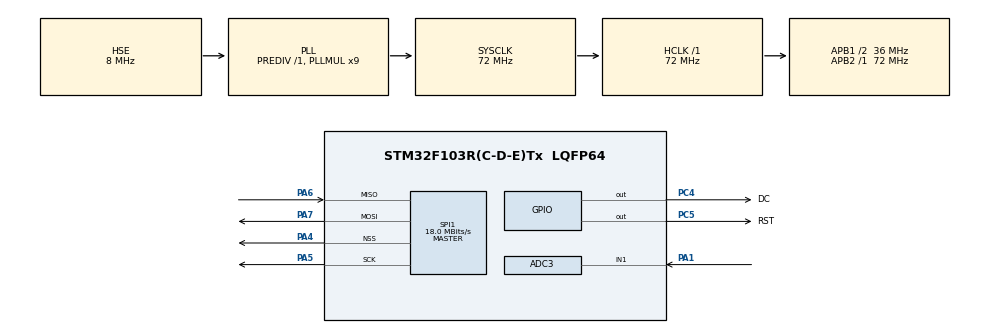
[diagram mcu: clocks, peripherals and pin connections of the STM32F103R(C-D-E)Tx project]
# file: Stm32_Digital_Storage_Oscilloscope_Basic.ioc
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ADC3.Channel-3\#ChannelRegularConversion=ADC_CHANNEL_1
ADC3.EnableRegularConversion=ENABLE
ADC3.ExternalTrigConv=ADC_EXTERNALTRIGCONV_T2_CC3
ADC3.NbrOfConversionFlag=1
ADC3.Rank-3\#ChannelRegularConversion=1
ADC3.SamplingTime-3\#ChannelRegularConversion=ADC_SAMPLETIME_1CYCLE_5
Dma.ADC3.0.Direction=DMA_PERIPH_TO_MEMORY
Dma.ADC3.0.Instance=DMA2_Channel5
Dma.ADC3.0.MemDataAlignment=DMA_MDATAALIGN_HALFWORD
Dma.ADC3.0.MemInc=DMA_MINC_ENABLE
Dma.ADC3.0.Mode=DMA_NORMAL
Dma.ADC3.0.PeriphDataAlignment=DMA_PDATAALIGN_HALFWORD
Dma.ADC3.0.PeriphInc=DMA_PINC_DISABLE
Dma.ADC3.0.Priority=DMA_PRIORITY_LOW
Dma.Request0=ADC3
Dma.Request1=SPI1_TX
Dma.SPI1_TX.1.Direction=DMA_MEMORY_TO_PERIPH
Dma.SPI1_TX.1.Instance=DMA1_Channel3
Dma.SPI1_TX.1.MemDataAlignment=DMA_MDATAALIGN_BYTE
Dma.SPI1_TX.1.MemInc=DMA_MINC_ENABLE
Dma.SPI1_TX.1.Mode=DMA_NORMAL
Dma.SPI1_TX.1.PeriphDataAlignment=DMA_PDATAALIGN_BYTE
Dma.SPI1_TX.1.PeriphInc=DMA_PINC_DISABLE
Dma.SPI1_TX.1.Priority=DMA_PRIORITY_LOW
FREERTOS.Tasks01=AcquitsittionHa,40,512,AcquitsittionHandleCallback,Default,NULL,Dynamic,NULL,NULL;UiHandleTask,24,512,UiHandleCallback,Default,NULL,Dynamic,NULL,NULL
FREERTOS.configTOTAL_HEAP_SIZE=6144
Mcu.Family=STM32F1
Mcu.Name=STM32F103R(C-D-E)Tx
Mcu.Package=LQFP64
NVIC.ADC3_IRQn=true\:5\:0\:false\:false\:true\:true\:true\:true\:true
NVIC.DMA1_Channel3_IRQn=true\:5\:0\:false\:false\:true\:true\:false\:true\:true
NVIC.DMA2_Channel4_5_IRQn=true\:5\:0\:false\:false\:true\:true\:false\:true\:true
NVIC.PriorityGroup=NVIC_PRIORITYGROUP_4
PA1.Signal=ADCx_IN1
PA13.Mode=Serial_Wire
PA13.Signal=SYS_JTMS-SWDIO
PA14.Mode=Serial_Wire
PA14.Signal=SYS_JTCK-SWCLK
PA4.Mode=NSS_Signal_Hard_Output
PA4.Signal=SPI1_NSS
PA5.Mode=Full_Duplex_Master
PA5.Signal=SPI1_SCK
PA6.Mode=Full_Duplex_Master
PA6.Signal=SPI1_MISO
PA7.Mode=Full_Duplex_Master
PA7.Signal=SPI1_MOSI
PC4.GPIO_Label=DC
PC4.GPIO_Speed=GPIO_SPEED_FREQ_HIGH
PC4.Signal=GPIO_Output
PC5.GPIO_Label=RST
PC5.GPIO_Speed=GPIO_SPEED_FREQ_HIGH
PC5.Signal=GPIO_Output
PD0-OSC_IN.Mode=HSE-External-Oscillator
PD0-OSC_IN.Signal=RCC_OSC_IN
PD1-OSC_OUT.Mode=HSE-External-Oscillator
PD1-OSC_OUT.Signal=RCC_OSC_OUT
ProjectManager.HeapSize=0x200
ProjectManager.StackSize=0x400
ProjectManager.TargetToolchain=STM32CubeIDE
RCC.ADCPresc=RCC_ADCPCLK2_DIV6
RCC.AHBFreq_Value=72000000
RCC.APB1CLKDivider=RCC_HCLK_DIV2
RCC.APB1Freq_Value=36000000
RCC.APB1TimFreq_Value=72000000
RCC.APB2Freq_Value=72000000
RCC.APB2TimFreq_Value=72000000
RCC.HCLKFreq_Value=72000000
RCC.PLLMUL=RCC_PLL_MUL9
RCC.PLLSourceVirtual=RCC_PLLSOURCE_HSE
RCC.SYSCLKFreq_VALUE=72000000
RCC.SYSCLKSource=RCC_SYSCLKSOURCE_PLLCLK
RCC.USBFreq_Value=72000000
SH.ADCx_IN1.0=ADC3_IN1,IN1
SPI1.BaudRatePrescaler=SPI_BAUDRATEPRESCALER_4
SPI1.CalculateBaudRate=18.0 MBits/s
SPI1.Direction=SPI_DIRECTION_2LINES
SPI1.Mode=SPI_MODE_MASTER
SPI1.VirtualNSS=VM_NSSHARD
SPI1.VirtualType=VM_MASTER
TIM2.AutoReloadPreload=TIM_AUTORELOAD_PRELOAD_ENABLE
TIM2.Channel-Output\ Compare3\ No\ Output=TIM_CHANNEL_3
TIM2.OC3Preload=DISABLE
TIM2.Period=1
TIM2.Prescaler=35
TIM2.TIM_MasterOutputTrigger=TIM_TRGO_RESET
VP_FREERTOS_VS_CMSIS_V2.Mode=CMSIS_V2
VP_TIM2_VS_ClockSourceINT.Mode=Internal
VP_TIM2_VS_no_output3.Mode=Output Compare3 No Output
board=custom

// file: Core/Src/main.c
/* USER CODE BEGIN Header */
/**
 ******************************************************************************
 * @file           : main.c
 * @brief          : Main program body
 ******************************************************************************
 * @attention
 *
 * Copyright (c) 2026 STMicroelectronics.
 * All rights reserved.
 *
 * This software is licensed under terms that can be found in the LICENSE file
 * in the root directory of this software component.
 * If no LICENSE file comes with this software, it is provided AS-IS.
 *
 ******************************************************************************
 */
/* USER CODE END Header */
#include "main.h"
#include "cmsis_os.h"

/* USER CODE BEGIN Includes */
#include "St7789.h"
#include <string.h>
#include "acquisition.h"
#include "FreeRTOS.h"
#include "queue.h"
#include "MainScreen.h"
/* USER CODE END Includes */

/* USER CODE BEGIN PD */
#define ST7789_COLUMN_SIZE													240
#define ST7789_ROW_SIZE														320
#define ST7789_DMA_MEMORY_SIZE												720

/* USER CODE END PD */

ADC_HandleTypeDef hadc3;
DMA_HandleTypeDef hdma_adc3;

SPI_HandleTypeDef hspi1;
DMA_HandleTypeDef hdma_spi1_tx;

TIM_HandleTypeDef htim2;

/* Definitions for AcquitsittionHa */
osThreadId_t AcquitsittionHaHandle;
const osThreadAttr_t AcquitsittionHa_attributes = {
  .name = "AcquitsittionHa",
  .stack_size = 512 * 4,
  .priority = (osPriority_t) osPriorityHigh,
};
/* Definitions for UiHandleTask */
osThreadId_t UiHandleTaskHandle;
const osThreadAttr_t UiHandleTask_attributes = {
  .name = "UiHandleTask",
  .stack_size = 512 * 4,
  .priority = (osPriority_t) osPriorityNormal,
};
/* USER CODE BEGIN PV */
St7789Config tft7789;
uint16_t timePerDiv;
uint16_t sampleCount;
/* USER CODE END PV */

void SystemClock_Config(void);
static void MX_GPIO_Init(void);
static void MX_DMA_Init(void);
static void MX_SPI1_Init(void);
static void MX_ADC3_Init(void);
static void MX_TIM2_Init(void);
void AcquitsittionHandleCallback(void *argument);
void UiHandleCallback(void *argument);

/* USER CODE BEGIN PFP */
static void St7789_Config(St7789Config *config);
void HandleEncoderChanged(AcquisittionEncoderChangedContent *buffer);
/* USER CODE END PFP */

int main(void)
{

  /* MCU Configuration--------------------------------------------------------*/

  /* Reset of all peripherals, Initializes the Flash interface and the Systick. */
  HAL_Init();

  /* Configure the system clock */
  SystemClock_Config();

  /* Initialize all configured peripherals */
  MX_GPIO_Init();
  MX_DMA_Init();
  MX_SPI1_Init();
  MX_ADC3_Init();
  MX_TIM2_Init();

  /* Init scheduler */
  osKernelInitialize();

  /* Create the thread(s) */
  /* creation of AcquitsittionHa */
  AcquitsittionHaHandle = osThreadNew(AcquitsittionHandleCallback, NULL, &AcquitsittionHa_attributes);

  /* creation of UiHandleTask */
  UiHandleTaskHandle = osThreadNew(UiHandleCallback, NULL, &UiHandleTask_attributes);

  /* Start scheduler */
  osKernelStart();

  /* We should never get here as control is now taken by the scheduler */

  /* Infinite loop */
	while (1) {

	}
}

void SystemClock_Config(void)
{
  RCC_OscInitTypeDef RCC_OscInitStruct = {0};
  RCC_ClkInitTypeDef RCC_ClkInitStruct = {0};
  RCC_PeriphCLKInitTypeDef PeriphClkInit = {0};

  /** Initializes the RCC Oscillators according to the specified parameters
  * in the RCC_OscInitTypeDef structure.
  */
  RCC_OscInitStruct.OscillatorType = RCC_OSCILLATORTYPE_HSE;
  RCC_OscInitStruct.HSEState = RCC_HSE_ON;
  RCC_OscInitStruct.HSEPredivValue = RCC_HSE_PREDIV_DIV1;
  RCC_OscInitStruct.HSIState = RCC_HSI_ON;
  RCC_OscInitStruct.PLL.PLLState = RCC_PLL_ON;
  RCC_OscInitStruct.PLL.PLLSource = RCC_PLLSOURCE_HSE;
  RCC_OscInitStruct.PLL.PLLMUL = RCC_PLL_MUL9;
  if (HAL_RCC_OscConfig(&RCC_OscInitStruct) != HAL_OK)
  {
    Error_Handler();
  }

  /** Initializes the CPU, AHB and APB buses clocks
  */
  RCC_ClkInitStruct.ClockType = RCC_CLOCKTYPE_HCLK|RCC_CLOCKTYPE_SYSCLK
                              |RCC_CLOCKTYPE_PCLK1|RCC_CLOCKTYPE_PCLK2;
  RCC_ClkInitStruct.SYSCLKSource = RCC_SYSCLKSOURCE_PLLCLK;
  RCC_ClkInitStruct.AHBCLKDivider = RCC_SYSCLK_DIV1;
  RCC_ClkInitStruct.APB1CLKDivider = RCC_HCLK_DIV2;
  RCC_ClkInitStruct.APB2CLKDivider = RCC_HCLK_DIV1;

  if (HAL_RCC_ClockConfig(&RCC_ClkInitStruct, FLASH_LATENCY_2) != HAL_OK)
  {
    Error_Handler();
  }
  PeriphClkInit.PeriphClockSelection = RCC_PERIPHCLK_ADC;
  PeriphClkInit.AdcClockSelection = RCC_ADCPCLK2_DIV6;
  if (HAL_RCCEx_PeriphCLKConfig(&PeriphClkInit) != HAL_OK)
  {
    Error_Handler();
  }
}

static void MX_ADC3_Init(void)
{

  ADC_ChannelConfTypeDef sConfig = {0};

  /** Common config
  */
  hadc3.Instance = ADC3;
  hadc3.Init.ScanConvMode = ADC_SCAN_DISABLE;
  hadc3.Init.ContinuousConvMode = DISABLE;
  hadc3.Init.DiscontinuousConvMode = DISABLE;
  hadc3.Init.ExternalTrigConv = ADC_EXTERNALTRIGCONV_T2_CC3;
  hadc3.Init.DataAlign = ADC_DATAALIGN_RIGHT;
  hadc3.Init.NbrOfConversion = 1;
  if (HAL_ADC_Init(&hadc3) != HAL_OK)
  {
    Error_Handler();
  }

  /** Configure Regular Channel
  */
  sConfig.Channel = ADC_CHANNEL_1;
  sConfig.Rank = ADC_REGULAR_RANK_1;
  sConfig.SamplingTime = ADC_SAMPLETIME_1CYCLE_5;
  if (HAL_ADC_ConfigChannel(&hadc3, &sConfig) != HAL_OK)
  {
    Error_Handler();
  }

}

static void MX_SPI1_Init(void)
{

  /* SPI1 parameter configuration*/
  hspi1.Instance = SPI1;
  hspi1.Init.Mode = SPI_MODE_MASTER;
  hspi1.Init.Direction = SPI_DIRECTION_2LINES;
  hspi1.Init.DataSize = SPI_DATASIZE_8BIT;
  hspi1.Init.CLKPolarity = SPI_POLARITY_LOW;
  hspi1.Init.CLKPhase = SPI_PHASE_1EDGE;
  hspi1.Init.NSS = SPI_NSS_HARD_OUTPUT;
  hspi1.Init.BaudRatePrescaler = SPI_BAUDRATEPRESCALER_4;
  hspi1.Init.FirstBit = SPI_FIRSTBIT_MSB;
  hspi1.Init.TIMode = SPI_TIMODE_DISABLE;
  hspi1.Init.CRCCalculation = SPI_CRCCALCULATION_DISABLE;
  hspi1.Init.CRCPolynomial = 10;
  if (HAL_SPI_Init(&hspi1) != HAL_OK)
  {
    Error_Handler();
  }

}

static void MX_TIM2_Init(void)
{

  TIM_ClockConfigTypeDef sClockSourceConfig = {0};
  TIM_MasterConfigTypeDef sMasterConfig = {0};
  TIM_OC_InitTypeDef sConfigOC = {0};

  htim2.Instance = TIM2;
  htim2.Init.Prescaler = 35;
  htim2.Init.CounterMode = TIM_COUNTERMODE_UP;
  htim2.Init.Period = 1;
  htim2.Init.ClockDivision = TIM_CLOCKDIVISION_DIV1;
  htim2.Init.AutoReloadPreload = TIM_AUTORELOAD_PRELOAD_ENABLE;
  if (HAL_TIM_Base_Init(&htim2) != HAL_OK)
  {
    Error_Handler();
  }
  sClockSourceConfig.ClockSource = TIM_CLOCKSOURCE_INTERNAL;
  if (HAL_TIM_ConfigClockSource(&htim2, &sClockSourceConfig) != HAL_OK)
  {
    Error_Handler();
  }
  if (HAL_TIM_OC_Init(&htim2) != HAL_OK)
  {
    Error_Handler();
  }
  sMasterConfig.MasterOutputTrigger = TIM_TRGO_RESET;
  sMasterConfig.MasterSlaveMode = TIM_MASTERSLAVEMODE_DISABLE;
  if (HAL_TIMEx_MasterConfigSynchronization(&htim2, &sMasterConfig) != HAL_OK)
  {
    Error_Handler();
  }
  sConfigOC.OCMode = TIM_OCMODE_TIMING;
  sConfigOC.Pulse = 0;
  sConfigOC.OCPolarity = TIM_OCPOLARITY_HIGH;
  sConfigOC.OCFastMode = TIM_OCFAST_DISABLE;
  if (HAL_TIM_OC_ConfigChannel(&htim2, &sConfigOC, TIM_CHANNEL_3) != HAL_OK)
  {
    Error_Handler();
  }

}

static void MX_DMA_Init(void)
{

  /* DMA controller clock enable */
  __HAL_RCC_DMA2_CLK_ENABLE();
  __HAL_RCC_DMA1_CLK_ENABLE();

  /* DMA interrupt init */
  /* DMA1_Channel3_IRQn interrupt configuration */
  HAL_NVIC_SetPriority(DMA1_Channel3_IRQn, 5, 0);
  HAL_NVIC_EnableIRQ(DMA1_Channel3_IRQn);
  /* DMA2_Channel4_5_IRQn interrupt configuration */
  HAL_NVIC_SetPriority(DMA2_Channel4_5_IRQn, 5, 0);
  HAL_NVIC_EnableIRQ(DMA2_Channel4_5_IRQn);

}

static void MX_GPIO_Init(void)
{
  GPIO_InitTypeDef GPIO_InitStruct = {0};

  /* GPIO Ports Clock Enable */
  __HAL_RCC_GPIOD_CLK_ENABLE();
  __HAL_RCC_GPIOA_CLK_ENABLE();
  __HAL_RCC_GPIOC_CLK_ENABLE();

  /*Configure GPIO pin Output Level */
  HAL_GPIO_WritePin(GPIOC, DC_Pin|RST_Pin, GPIO_PIN_RESET);

  /*Configure GPIO pins : DC_Pin RST_Pin */
  GPIO_InitStruct.Pin = DC_Pin|RST_Pin;
  GPIO_InitStruct.Mode = GPIO_MODE_OUTPUT_PP;
  GPIO_InitStruct.Pull = GPIO_NOPULL;
  GPIO_InitStruct.Speed = GPIO_SPEED_FREQ_HIGH;
  HAL_GPIO_Init(GPIOC, &GPIO_InitStruct);

}

/* USER CODE BEGIN 4 */
static void St7789_Config(St7789Config *config) {
	config->dc = (St7789Gpio) {DC_GPIO_Port, DC_Pin};
	config->spi = &hspi1;
	config->size = (St7789Size) {ST7789_COLUMN_SIZE, ST7789_ROW_SIZE};
	config->format = CONTROL_INTERFACE_FORMAT_16BIT;
	config->rst = (St7789Gpio) {GPIOC, RST_Pin};
	config->rotate = ST7789_DISPLAY_RIGHT;
	St7789Init(config, ST7789_DMA_MEMORY_SIZE);
}

void HandleEncoderChanged(AcquisittionEncoderChangedContent *buffer){
	timePerDiv = buffer->value / 1;
}
/* USER CODE END 4 */

void AcquitsittionHandleCallback(void *argument)
{
  /* USER CODE BEGIN 5 */
	/* Infinite loop */
	AcquisittionMessage *msg;
	for (;;) {
		osDelay(10000);
		AcquisittionPopMsgQueueReady(&msg, ACQUISITTION_DELAY);
		switch(msg->type){
			case ACQUISITTION_START:
				AcquisittionStart();
				break;
			case ACQUISITTION_SAMPLE_START:
				AcquisittionSampleStart();
				break;
			case ACQUISITTION_SAMPLE_STOP:
				AcquisittionSampleStop();
				break;
			case ACQUISITTION_ENCODER_CHANGED:
				HandleEncoderChanged(&msg->encoderChanged);
				break;
			case ACQUISITTION_READ_SAMPLE_FINNISH:
				//////
				break;
			case ACQUISITTION_SAMPLE_PERIOD_CHANGED:
				////// Wait for new USB control message.
				break;
			case ACQUISITTION_SAMPLE_COUNT_CHANGED:
				////// Wait for new USB control message.
				break;

		}
		AcquisittionPushMsgQueueFree(msg, ACQUISITTION_DELAY);
		if(msg->taskNotify != NULL)
			xTaskNotifyGive(msg->taskNotify);
	}
  /* USER CODE END 5 */
}

void UiHandleCallback(void *argument)
{
  /* USER CODE BEGIN UiHandleCallback */
	/* Infinite loop */
	St7789_Config(&tft7789);
	MainScreenInit(&tft7789);

	for (;;) {
		osDelay(1000);
	}
  /* USER CODE END UiHandleCallback */
}

void Error_Handler(void)
{
	__disable_irq();
	while (1) {
	}
}
